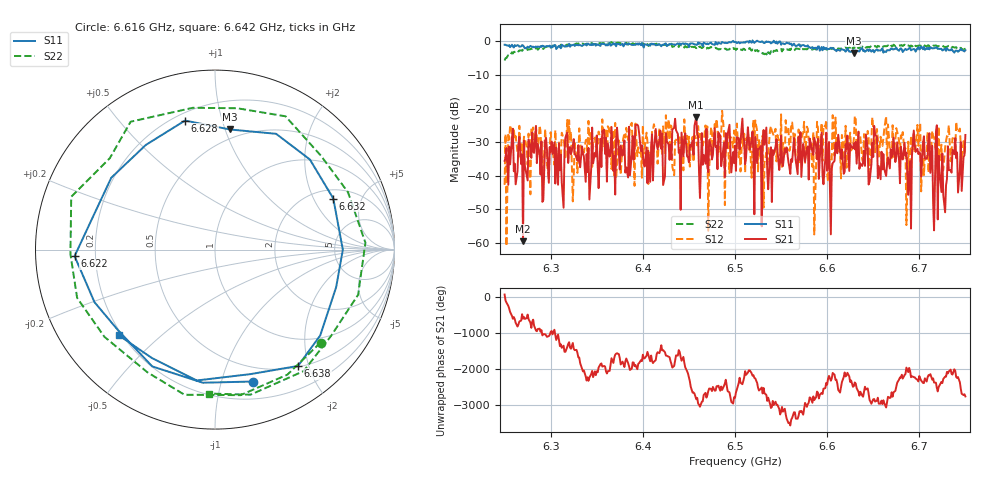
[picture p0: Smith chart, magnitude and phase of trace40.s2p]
# Hz S RI R 50
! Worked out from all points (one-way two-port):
!   401 points, 6.25 GHz to 6.75 GHz, reference 50 ohm
!   highest |S21| = -22.47 dB at 6.458 GHz (marker M1); lowest = -59.5 dB at 6.27 GHz (marker M2)
!   lowest |S11| = -3.4 dB at 6.629 GHz (marker M3), VSWR 5.14, Z = 21.1 + j51.8 ohm
!   |S11| at or under -10 dB: nowhere
!   |S22| runs from -5.7 to -0.2 dB; largest |S21 - S12| = 0.11
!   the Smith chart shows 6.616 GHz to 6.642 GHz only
!   S11 on the Smith chart (normalised r, x): 6.616 GHz: 0.36, -1.26; 6.622 GHz: 0.12, -0.02; 6.628 GHz: 0.24, +0.77; 6.632 GHz: 2.46, +2.89; 6.638 GHz: 0.52, -1.83; 6.642 GHz: 0.19, -0.37
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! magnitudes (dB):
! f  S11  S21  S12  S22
! 6.25 GHz  -1.0  -35.6  -42.7  -5.7
! 6.256 GHz  -1.7  -36.6  -24.9  -4.1
! 6.27 GHz  -1.2  -59.5  -33.8  -2.5
! 6.334 GHz  -1.4  -31.3  -33.0  -0.7
! 6.418 GHz  -0.9  -29.5  -25.8  -0.9
! 6.458 GHz  -1.1  -22.5  -29.3  -2.0
! 6.5 GHz  -0.2  -31.1  -30.0  -2.1
! 6.584 GHz  -1.7  -33.0  -37.4  -2.5
! 6.596 GHz  -1.7  -42.5  -25.0  -2.3
! 6.616 GHz  -2.3  -32.2  -27.9  -2.1
! 6.622 GHz  -2.1  -28.1  -34.2  -2.1
! 6.628 GHz  -2.6  -31.8  -31.5  -2.2
! 6.629 GHz  -3.4  -30.3  -29.0  -1.4
! 6.632 GHz  -2.9  -36.4  -33.4  -1.5
! 6.638 GHz  -2.0  -37.1  -35.1  -1.6
! 6.642 GHz  -2.9  -27.7  -32.8  -1.9
! 6.668 GHz  -2.7  -37.8  -31.9  -1.8
! 6.69 GHz  -2.0  -35.7  -35.8  -1.6
! 6.695 GHz  -2.4  -30.8  -33.3  -0.9
! 6.711 GHz  -2.4  -27.4  -31.3  -1.4
! 6.726 GHz  -2.6  -45.7  -38.4  -1.5
! 6.75 GHz  -2.6  -27.9  -30.5  -2.2
